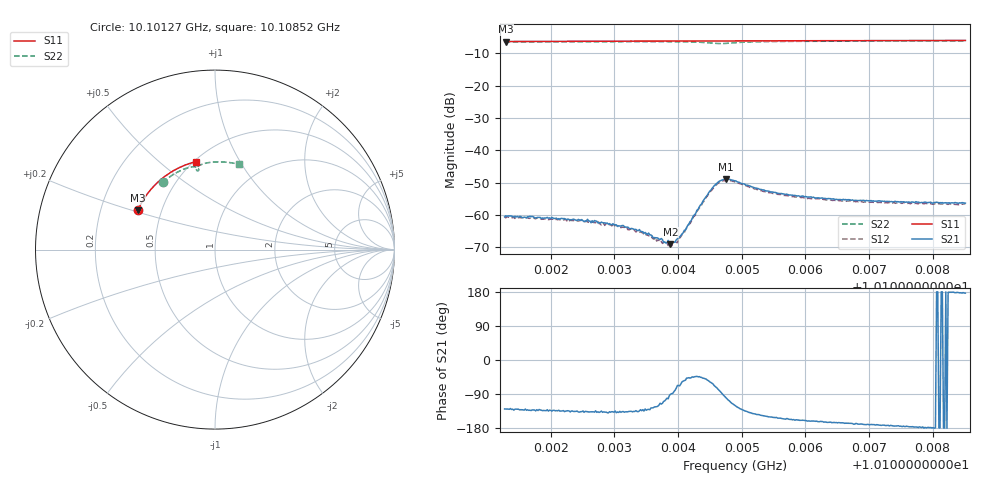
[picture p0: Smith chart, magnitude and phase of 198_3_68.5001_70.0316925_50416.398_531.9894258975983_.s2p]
#  HZ  S  RI  R  50.00
! Rohde & Schwarz Vector Network Analyzer
! Rohde-Schwarz,ZNB20-2Port,1311601062101988,3.16
! Created: UTC 3/20/2024, 4:57:25 PM
! freq[Hz]  re:S11  im:S11  re:S21  im:S21  re:S12  im:S12  re:S22  im:S22
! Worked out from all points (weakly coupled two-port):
!   401 points, 10.10127 GHz to 10.10852 GHz, reference 50 ohm
!   highest |S21| = -48.90 dB at 10.10475 GHz (marker M1); lowest = -69.1 dB at 10.10388 GHz (marker M2)
!   lowest |S11| = -6.3 dB at 10.10129 GHz (marker M3), VSWR 2.87, Z = 18.3 + j10.5 ohm
!   |S11| at or under -10 dB: nowhere
!   |S22| runs from -7.0 to -6.1 dB; largest |S21 - S12| = 0.00037
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1.0101273e10  -0.4303 0.2189  -0.000586 -0.00072  -0.000531 -0.000763  -0.2924 0.3748
1.0101291e10  -0.4299 0.2197  -0.000613 -0.000745  -0.000485 -0.000752  -0.2914 0.3756
1.010169e10  -0.4194 0.2416  -0.000642 -0.00068  -0.000562 -0.00071  -0.2713 0.3917
1.0102486e10  -0.3952 0.2837  -0.000611 -0.000582  -0.000532 -0.00059  -0.2281 0.421
1.0102685e10  -0.3887 0.2938  -0.000602 -0.000551  -0.000513 -0.000556  -0.2168 0.4277
1.0103156e10  -0.3718 0.3171  -0.000485 -0.000441  -0.000451 -0.000464  -0.1887 0.4418
1.0103446e10  -0.3609 0.3308  -0.000359 -0.000412  -0.000324 -0.000409  -0.1704 0.4496
1.0103699e10  -0.3507 0.3424  -0.000205 -0.000369  -0.000145 -0.000373  -0.1535 0.4555
1.010379e10  -0.3471 0.3466  -0.000116 -0.000362  -9.07e-05 -0.000367  -0.1471 0.4572
1.010388e10  -0.3434 0.3506  -3.7e-06 -0.000352  1.08e-05 -0.000362  -0.1405 0.4589
1.0103917e10  -0.3418 0.3523  1.24e-05 -0.000379  7.01e-05 -0.000375  -0.1379 0.4596
1.0104007e10  -0.338 0.3562  0.000175 -0.000419  0.000175 -0.000394  -0.1309 0.4609
1.010408e10  -0.335 0.3592  0.000296 -0.000436  0.000314 -0.000404  -0.125 0.4615
1.0104424e10  -0.32 0.3739  0.00117 -0.00138  0.00124 -0.00125  -0.0962 0.4553
1.010455e10  -0.3144 0.379  0.0012 -0.00242  0.00133 -0.0022  -0.0907 0.4457
1.0104659e10  -0.3095 0.3833  0.000446 -0.00333  0.000666 -0.00312  -0.0944 0.4387
1.0104749e10  -0.3055 0.3868  -0.000563 -0.00355  -0.000262 -0.00341  -0.1005 0.4399
1.0104894e10  -0.2988 0.3925  -0.0017 -0.00292  -0.00139 -0.0029  -0.1027 0.4512
1.0105419e10  -0.2738 0.4121  -0.00202 -0.00117  -0.0018 -0.00129  -0.0694 0.4768
1.0106107e10  -0.2389 0.4351  -0.00176 -0.0006  -0.00162 -0.000734  -0.0218 0.4864
1.010732e10  -0.1734 0.468  -0.0016 -0.000166  -0.00152 -0.000328  0.0577 0.4875
1.0108515e10  -0.1048 0.4903  -0.00152 9.42e-05  -0.00146 -7.33e-05  0.1333 0.475
